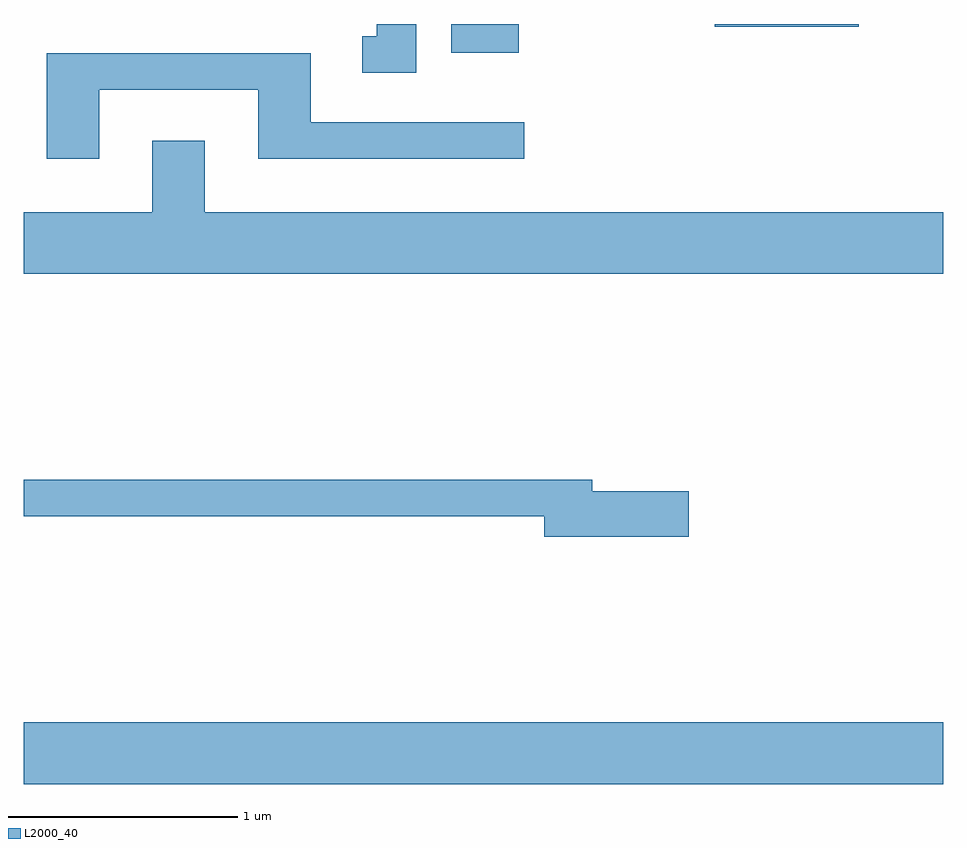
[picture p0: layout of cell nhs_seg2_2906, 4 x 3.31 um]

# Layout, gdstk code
import gdstk
lib = gdstk.Library(unit=1e-6, precision=1e-09)
def R(c, l, rs):  # rectangles x0, y0, x1, y1
    for r in rs: c.add(gdstk.rectangle(r[:2], r[2:], *l))
def P(c, l, *ps):  # polygons
    for p in ps: c.add(gdstk.Polygon(p, *l))
L2000_40 = (2000, 40)

nhs_seg2_2906 = lib.new_cell('nhs_seg2_2906')
R(nhs_seg2_2906, L2000_40, [(269.611,1090.496,273.611,1090.764), (271.471,1093.676,271.764,1093.802), (272.616,1093.791,273.244,1093.802)])
P(nhs_seg2_2906, L2000_40, [(271.319,1093.802),(271.146,1093.802),(271.146,1093.749),(271.083,1093.749),(271.083,1093.591),(271.319,1093.591)],
  [(269.939,1093.516),(270.631,1093.516),(270.631,1093.216),(271.788,1093.216),(271.788,1093.374),(270.859,1093.374),(270.859,1093.674),(269.711,1093.674),(269.711,1093.216),(269.939,1093.216)],
  [(273.611,1092.984),(270.399,1092.984),(270.399,1093.294),(270.171,1093.294),(270.171,1092.984),(269.611,1092.984),(269.611,1092.716),(273.611,1092.716)],
  [(272.504,1091.769),(272.084,1091.769),(272.084,1091.819),(269.611,1091.819),(269.611,1091.661),(271.876,1091.661),(271.876,1091.571),(272.504,1091.571)])

lib.write_gds('nhs_seg2_2906.gds')
